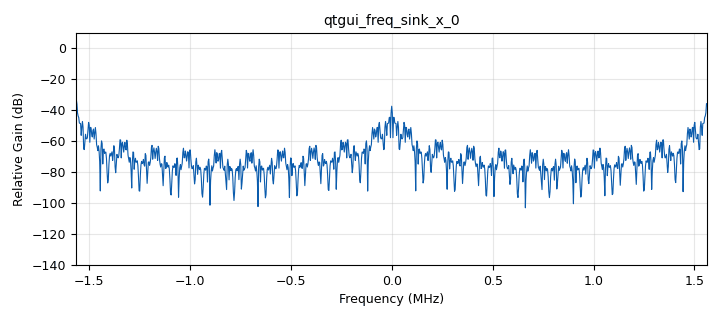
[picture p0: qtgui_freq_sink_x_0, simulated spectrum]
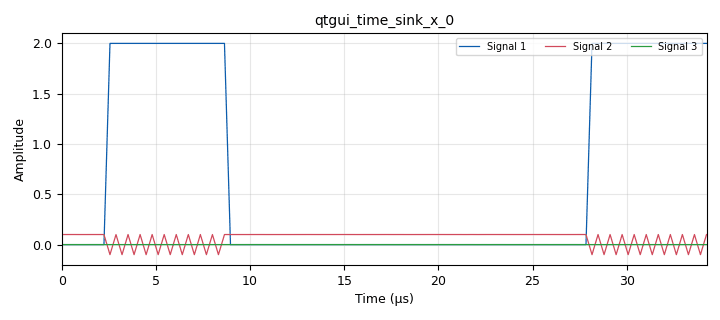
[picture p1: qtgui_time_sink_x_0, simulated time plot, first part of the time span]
options:
  parameters:
    author: DJ
    copyright: UIS
    generate_options: qt_gui
    id: PSK_Practica3
    output_language: python
    title: Not titled yet
  states: {}

blocks:
- name: AC
  id: variable_qtgui_range
  parameters:
    label: Amplitud de Portadora
    start: '0'
    step: '0.1'
    stop: '2'
    value: '0.1'
  states: {}
- name: B
  id: variable_qtgui_range
  parameters:
    label: Nº Muestras por simbolo
    rangeType: int
    start: '1'
    step: '1'
    stop: '40'
    value: '20'
  states: {}
- name: DC
  id: variable_qtgui_range
  parameters:
    label: Nivel de continua
    start: '-8'
    step: '0.1'
    stop: '8'
    value: '0'
  states: {}
- name: GTX
  id: variable_qtgui_range
  parameters:
    label: Ganancia transmisor
    start: '0'
    step: '1'
    stop: '30'
    value: '0'
  states: {}
- name: 'No'
  id: variable_qtgui_range
  parameters:
    label: Nivel de ruido
    start: '0'
    step: '100e-6'
    stop: '0.03'
    value: '100e-6'
  states: {}
- name: fc
  id: variable_qtgui_range
  parameters:
    label: Frecuencia portadora
    start: 50e6
    step: 1e6
    stop: 2.2e9
    value: 400e6
  states: {}
- name: kf
  id: variable_qtgui_range
  parameters:
    label: Coeficiente de sensibilidad frecuencia (MHz/V)
    start: '-2*math.pi'
    step: '0.001'
    stop: 2*math.pi
    value: math.pi/2
  states: {}
- name: kp
  id: variable_qtgui_range
  parameters:
    label: Coeficiente d sensibilidad fase
    start: '-2*math.pi'
    step: '0.001'
    stop: 2*math.pi
    value: math.pi/math.pow(2,n)
  states: {}
- name: n
  id: variable_qtgui_range
  parameters:
    label: Nº bit por simbolo
    rangeType: int
    start: '1'
    step: '1'
    stop: '4'
    value: '1'
  states: {}
- name: samp_rate
  id: variable
  parameters:
    value: 12500000/4
  states: {}
- name: analog_frequency_modulator_fc_0
  id: analog_frequency_modulator_fc
  parameters:
    sensitivity: kf
  states: {}
- name: analog_noise_source_x_0
  id: analog_noise_source_x
  parameters:
    amp: 'No'
    noise_type: analog.GR_GAUSSIAN
    seed: '0'
    type: complex
  states: {}
- name: analog_phase_modulator_fc_0
  id: analog_phase_modulator_fc
  parameters:
    sensitivity: kp
  states: {state: disabled}
- name: analog_random_source_x_0
  id: analog_random_source_x
  parameters:
    max: int(math.pow(2,n))
    min: '0'
    num_samps: '1000'
    repeat: 'True'
    type: byte
  states: {}
- name: blocks_add_const_vxx_0
  id: blocks_add_const_vxx
  parameters:
    const: DC
    type: float
  states: {}
- name: blocks_add_xx_0
  id: blocks_add_xx
  parameters:
    type: complex
  states: {}
- name: blocks_complex_to_float_0
  id: blocks_complex_to_float
  parameters: {}
  states: {}
- name: blocks_multiply_const_vxx_0
  id: blocks_multiply_const_vxx
  parameters:
    const: '2'
    type: float
  states: {}
- name: blocks_multiply_const_vxx_0_0
  id: blocks_multiply_const_vxx
  parameters:
    const: AC
    type: complex
  states: {}
- name: blocks_repeat_0
  id: blocks_repeat
  parameters:
    interp: B
    type: float
  states: {}
- name: blocks_uchar_to_float_0
  id: blocks_uchar_to_float
  parameters: {}
  states: {}
- name: import_0
  id: import
  parameters:
    imports: import math
  states: {}
- name: qtgui_const_sink_x_0
  id: qtgui_const_sink_x
  parameters:
    size: '1024'
    type: complex
  states: {state: disabled}
- name: qtgui_freq_sink_x_0
  id: qtgui_freq_sink_x
  parameters:
    bw: samp_rate
    fc: '0'
    fftsize: '1024'
    type: complex
  states: {}
- name: qtgui_time_sink_x_0
  id: qtgui_time_sink_x
  parameters:
    autoscale: 'True'
    nconnections: '3'
    size: 1024*8
    srate: samp_rate
    type: float
  states: {}
- name: uhd_usrp_sink_0
  id: uhd_usrp_sink
  parameters:
    ant0: '"TX/RX"'
    center_freq0: fc
    gain0: GTX
    samp_rate: samp_rate
    sync: pc_clock
    type: fc32
  states: {}
- name: virtual_sink_0
  id: virtual_sink
  parameters:
    stream_id: m_t
  states: {}
- name: virtual_source_0
  id: virtual_source
  parameters:
    stream_id: m_t
  states: {}

connections:
- [analog_frequency_modulator_fc_0, '0', blocks_multiply_const_vxx_0_0, '0']
- [analog_noise_source_x_0, '0', blocks_add_xx_0, '1']
- [analog_phase_modulator_fc_0, '0', blocks_multiply_const_vxx_0_0, '0']
- [analog_random_source_x_0, '0', blocks_uchar_to_float_0, '0']
- [blocks_add_const_vxx_0, '0', blocks_multiply_const_vxx_0, '0']
- [blocks_add_xx_0, '0', blocks_complex_to_float_0, '0']
- [blocks_add_xx_0, '0', qtgui_const_sink_x_0, '0']
- [blocks_add_xx_0, '0', qtgui_freq_sink_x_0, '0']
- [blocks_add_xx_0, '0', uhd_usrp_sink_0, '0']
- [blocks_complex_to_float_0, '0', qtgui_time_sink_x_0, '1']
- [blocks_complex_to_float_0, '1', qtgui_time_sink_x_0, '2']
- [blocks_multiply_const_vxx_0, '0', qtgui_time_sink_x_0, '0']
- [blocks_multiply_const_vxx_0, '0', virtual_sink_0, '0']
- [blocks_multiply_const_vxx_0_0, '0', blocks_add_xx_0, '0']
- [blocks_repeat_0, '0', blocks_add_const_vxx_0, '0']
- [blocks_uchar_to_float_0, '0', blocks_repeat_0, '0']
- [virtual_source_0, '0', analog_frequency_modulator_fc_0, '0']
- [virtual_source_0, '0', analog_phase_modulator_fc_0, '0']

metadata:
  file_format: 1
